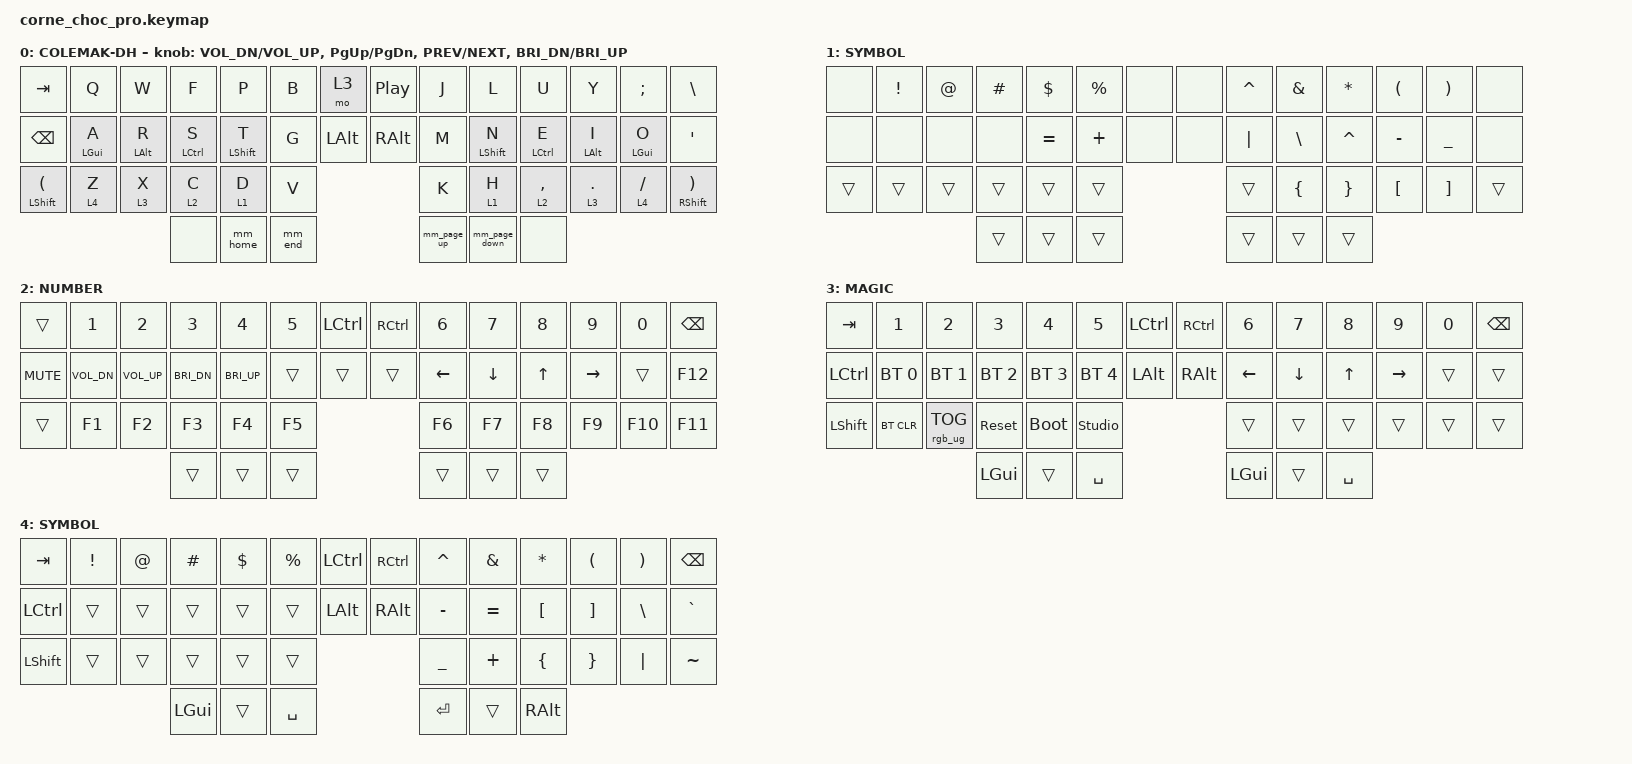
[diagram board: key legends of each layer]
/*
 * Copyright (c) 2020 The ZMK Contributors
 *
 * SPDX-License-Identifier: MIT
 */

#include <behaviors.dtsi>
#include <dt-bindings/zmk/bt.h>
#include <dt-bindings/zmk/keys.h>
#include <dt-bindings/zmk/rgb.h>

/ {
    chosen { zmk,physical-layout = &default_layout; };
};

/ {
    behaviors {
        mm_page_up: mm_page_up {
            compatible = "zmk,behavior-mod-morph";
            label = "MM_PAGE_UP";
            bindings = <&kp DELETE>, <&kp PAGE_UP>;

            #binding-cells = <0>;
            mods = <(MOD_LALT)>;
        };

        mm_page_down: mm_page_down {
            compatible = "zmk,behavior-mod-morph";
            label = "MM_PAGE_DOWN";
            bindings = <&kp ENTER>, <&kp PAGE_DOWN>;

            #binding-cells = <0>;
            mods = <(MOD_LALT)>;
        };

        mm_home: mm_home {
            compatible = "zmk,behavior-mod-morph";
            label = "MM_HOME";
            bindings = <&kp SPACE>, <&kp HOME>;

            #binding-cells = <0>;
            mods = <(MOD_LALT)>;
        };

        mm_end: mm_end {
            compatible = "zmk,behavior-mod-morph";
            label = "MM_END";
            bindings = <&kp ESCAPE>, <&kp END>;

            #binding-cells = <0>;
            mods = <(MOD_LALT)>;
        };
    };

    keymap {
        compatible = "zmk,keymap";

        Default {
            display-name = "COLEMAK-DH";
            bindings = <
&kp TAB         &kp Q       &kp W       &kp F        &kp P        &kp B    &mo 3     &kp C_PP  &kp J        &kp L          &kp U        &kp Y       &kp SEMI    &kp BACKSLASH
&kp BSPC        &mt LGUI A  &mt LALT R  &mt LCTRL S  &mt LSHFT T  &kp G    &kp LALT  &kp RALT  &kp M        &mt LSHIFT N   &mt LCTRL E  &mt LALT I  &mt LGUI O  &kp SQT
&mt LSHFT LPAR  &lt 4 Z     &lt 3 X     &lt 2 C      &lt 1 D      &kp V                        &kp K        &lt 1 H        &lt 2 COMMA  &lt 3 DOT   &lt 4 FSLH  &mt RIGHT_SHIFT RPAR
                                        &none        &mm_home     &mm_end                      &mm_page_up  &mm_page_down  &none
            >;

            sensor-bindings = <&inc_dec_kp C_VOL_DN C_VOL_UP &inc_dec_kp PG_UP PG_DN &inc_dec_kp C_PREV C_NEXT &inc_dec_kp C_BRI_DN C_BRI_UP>;
        };

        Symbol {
            display-name = "SYMBOL";
            bindings = <
&none   &kp EXCL  &kp AT  &kp HASH  &kp DLLR   &kp PRCNT  &none  &none  &kp CARET  &kp AMPS        &kp STAR         &kp LPAR          &kp RPAR           &none
&none   &none     &none   &none     &kp EQUAL  &kp PLUS   &none  &none  &kp PIPE   &kp BSLH        &kp CARET        &kp MINUS         &kp UNDER          &none
&trans  &trans    &trans  &trans    &trans     &trans                   &trans     &kp LEFT_BRACE  &kp RIGHT_BRACE  &kp LEFT_BRACKET  &kp RIGHT_BRACKET  &trans
                          &trans    &trans     &trans                   &trans     &trans          &trans
            >;
        };

        Number {
            display-name = "NUMBER";
            bindings = <
&trans      &kp N1        &kp N2        &kp N3        &kp N4        &kp N5  &kp LCTRL  &kp RCTRL  &kp N6    &kp N7    &kp N8        &kp N9     &kp N0   &kp BSPC
&kp C_MUTE  &kp C_VOL_DN  &kp C_VOL_UP  &kp C_BRI_DN  &kp C_BRI_UP  &trans  &trans     &trans     &kp LEFT  &kp DOWN  &kp UP_ARROW  &kp RIGHT  &trans   &kp F12
&trans      &kp F1        &kp F2        &kp F3        &kp F4        &kp F5                        &kp F6    &kp F7    &kp F8        &kp F9     &kp F10  &kp F11
                                        &trans        &trans        &trans                        &trans    &trans    &trans
            >;
        };

        Magic {
            display-name = "MAGIC";
            bindings = <
&kp TAB    &kp N1        &kp N2           &kp N3        &kp N4        &kp N5          &kp LCTRL  &kp RCTRL  &kp N6    &kp N7    &kp N8     &kp N9     &kp N0  &kp BSPC
&kp LCTRL  &bt BT_SEL 0  &bt BT_SEL 1     &bt BT_SEL 2  &bt BT_SEL 3  &bt BT_SEL 4    &kp LALT   &kp RALT   &kp LEFT  &kp DOWN  &kp UP     &kp RIGHT  &trans  &trans
&kp LSHFT  &bt BT_CLR    &rgb_ug RGB_TOG  &sys_reset    &bootloader   &studio_unlock                        &trans    &trans    &trans     &trans     &trans  &trans
                                          &kp LGUI      &trans        &kp SPACE                             &kp LGUI  &trans    &kp SPACE
            >;
        };

        raise_layer {
            display-name = "SYMBOL";
            bindings = <
&kp TAB    &kp EXCL  &kp AT  &kp HASH  &kp DLLR  &kp PRCNT  &kp LCTRL  &kp RCTRL  &kp CARET  &kp AMPS   &kp ASTRK  &kp LPAR  &kp RPAR  &kp BSPC
&kp LCTRL  &trans    &trans  &trans    &trans    &trans     &kp LALT   &kp RALT   &kp MINUS  &kp EQUAL  &kp LBKT   &kp RBKT  &kp BSLH  &kp GRAVE
&kp LSHFT  &trans    &trans  &trans    &trans    &trans                           &kp UNDER  &kp PLUS   &kp LBRC   &kp RBRC  &kp PIPE  &kp TILDE
                             &kp LGUI  &trans    &kp SPACE                        &kp RET    &trans     &kp RALT
            >;
        };
    };
};
